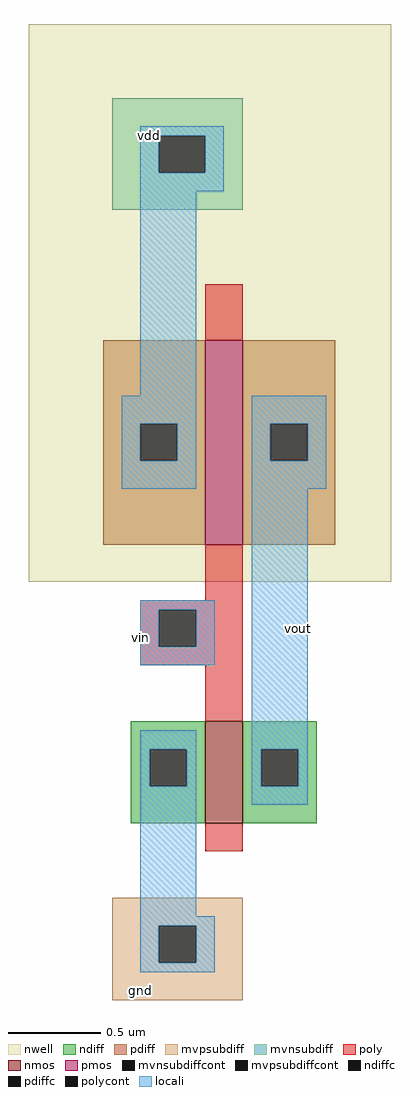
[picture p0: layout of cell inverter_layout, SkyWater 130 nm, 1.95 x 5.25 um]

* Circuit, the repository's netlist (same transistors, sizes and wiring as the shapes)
* SPICE3 file created from inverter_layout.ext - technology: sky130A

X0 vout vin gnd gnd sky130_fd_pr__nfet_01v8 ad=0.22 pd=1.9 as=0.22 ps=1.9 w=0.55 l=0.2
X1 vout vin vdd vdd sky130_fd_pr__pfet_01v8 ad=0.55 pd=3.2 as=0.605 ps=3.3 w=1.1 l=0.2

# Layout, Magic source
magic
tech sky130A
<< nwell >>
rect -90 95 105 395
<< nmos >>
rect 5 -35 25 20
<< pmos >>
rect 5 115 25 225
<< ndiff >>
rect -35 5 5 20
rect -35 -15 -25 5
rect -5 -15 5 5
rect -35 -35 5 -15
rect 25 5 65 20
rect 25 -15 35 5
rect 55 -15 65 5
rect 25 -35 65 -15
<< pdiff >>
rect -50 180 5 225
rect -50 160 -30 180
rect -10 160 5 180
rect -50 115 5 160
rect 25 180 75 225
rect 25 160 40 180
rect 60 160 75 180
rect 25 115 75 160
<< ndiffc >>
rect -25 -15 -5 5
rect 35 -15 55 5
<< pdiffc >>
rect -30 160 -10 180
rect 40 160 60 180
<< mvpsubdiff >>
rect -45 -90 25 -75
rect -45 -110 -20 -90
rect 0 -110 25 -90
rect -45 -130 25 -110
<< mvnsubdiff >>
rect -45 335 25 355
rect -45 315 -20 335
rect 5 315 25 335
rect -45 295 25 315
<< mvpsubdiffcont >>
rect -20 -110 0 -90
<< mvnsubdiffcont >>
rect -20 315 5 335
<< poly >>
rect 5 225 25 255
rect 5 85 25 115
rect -30 80 25 85
rect -30 60 -20 80
rect 0 60 25 80
rect -30 50 25 60
rect 5 20 25 50
rect 5 -50 25 -35
<< polycont >>
rect -20 60 0 80
<< locali >>
rect -30 335 15 340
rect -30 315 -20 335
rect 5 315 15 335
rect -30 305 15 315
rect -30 195 0 305
rect -40 180 0 195
rect -40 160 -30 180
rect -10 160 0 180
rect -40 145 0 160
rect 30 180 70 195
rect 30 160 40 180
rect 60 160 70 180
rect 30 145 70 160
rect -30 80 10 85
rect -30 60 -20 80
rect 0 60 10 80
rect -30 50 10 60
rect -30 5 0 15
rect -30 -15 -25 5
rect -5 -15 0 5
rect -30 -85 0 -15
rect 30 5 60 145
rect 30 -15 35 5
rect 55 -15 60 5
rect 30 -25 60 -15
rect -30 -90 10 -85
rect -30 -110 -20 -90
rect 0 -110 10 -90
rect -30 -115 10 -110
<< labels >>
rlabel locali 55 70 55 70 1 vout
port 1 n
rlabel mvpsubdiff -30 -125 -30 -125 1 gnd
port 3 n
rlabel locali -25 335 -25 335 1 vdd
port 2 n
rlabel locali -30 65 -30 65 1 vin
port 4 n
<< end >>
